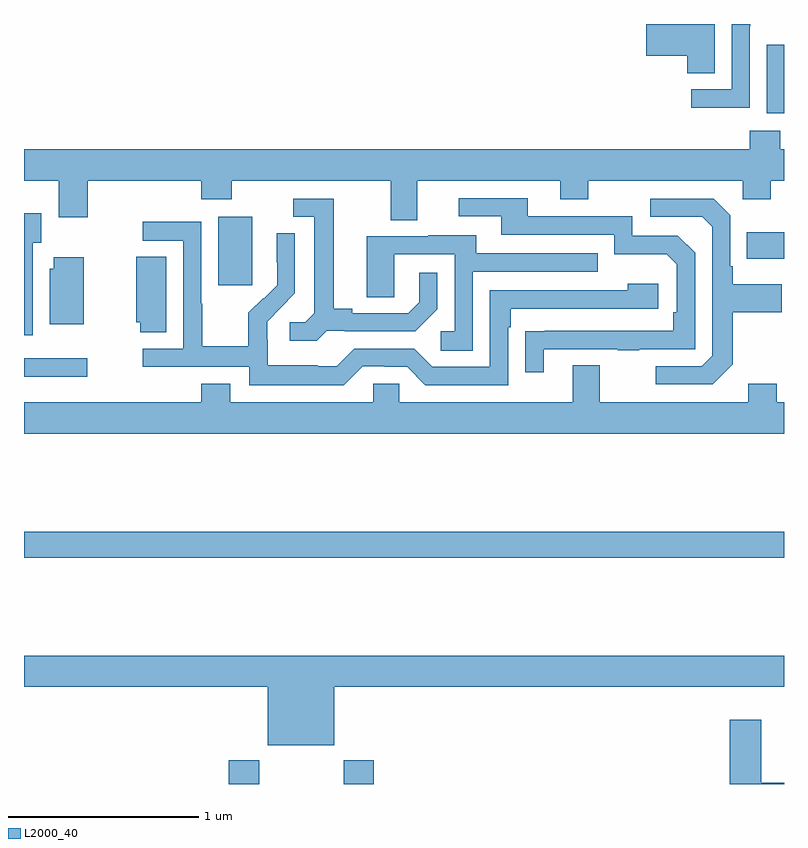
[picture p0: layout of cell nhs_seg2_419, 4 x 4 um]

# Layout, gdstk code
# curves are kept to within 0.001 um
import gdstk
lib = gdstk.Library(unit=1e-6, precision=1e-09)
def R(c, l, rs):  # rectangles x0, y0, x1, y1
    for r in rs: c.add(gdstk.rectangle(r[:2], r[2:], *l))
def P(c, l, *ps):  # polygons
    for p in ps: c.add(gdstk.Polygon(p, *l))
L2000_40 = (2000, 40)

nhs_seg2_419 = lib.new_cell('nhs_seg2_419')
R(nhs_seg2_419, L2000_40, [(132.077,637.8,132.237,637.924), (132.682,637.8,132.842,637.924), (131,638.992,135,639.128), (131,639.944,131.332,640.041), (132.023,640.425,132.202,640.786), (134.803,640.565,135,640.705), (134.909,641.33,135,641.691)])
P(nhs_seg2_419, L2000_40, [(134.635,641.8),(134.274,641.8),(134.274,641.633),(134.492,641.633),(134.492,641.542),(134.635,641.542)],
  [(134.82,641.788),(134.823,641.788),(134.823,641.8),(134.724,641.8),(134.724,641.457),(134.511,641.457),(134.511,641.359),(134.82,641.359)],
  [(133.069,640.976),(133.823,640.976),(133.823,640.877),(133.971,640.877),(133.971,640.976),(134.784,640.976),(134.784,640.877),(134.931,640.877),(134.931,640.976),(135,640.976),(135,641.14),(134.979,641.14),(134.979,641.239),(134.819,641.239),(134.819,641.14),(131,641.14),(131,640.976),(131.183,640.976),(131.183,640.782),(131.336,640.782),(131.336,640.976),(131.933,640.976),(131.933,640.877),(132.093,640.877),(132.093,640.976),(132.929,640.976),(132.929,640.768),(133.069,640.768)],
  [(133.735,640.089),(134.125,640.089),(134.125,640.084),(134.237,640.084),(134.237,640.089),(134.532,640.089),(134.532,640.596),(134.442,640.686),(134.202,640.686),(134.202,640.788),(133.651,640.788),(133.651,640.884),(133.287,640.884),(133.287,640.788),(133.511,640.788),(133.511,640.692),(134.106,640.692),(134.106,640.589),(134.383,640.589),(134.436,640.536),(134.436,640.282),(134.416,640.282),(134.416,640.185),(133.639,640.184),(133.639,639.966),(133.735,639.966)],
  [(132.594,640.185),(132.688,640.185),(132.688,640.182),(133.06,640.182),(133.176,640.298),(133.176,640.492),(133.079,640.492),(133.079,640.335),(133.022,640.278),(132.727,640.278),(132.727,640.301),(132.631,640.301),(132.631,640.881),(132.417,640.881),(132.417,640.785),(132.527,640.785),(132.527,640.277),(132.48,640.23),(132.399,640.23),(132.399,640.133),(132.542,640.133)],
  [(134.731,640.009),(134.731,640.282),(134.987,640.282),(134.987,640.429),(134.731,640.429),(134.731,640.525),(134.718,640.525),(134.718,640.794),(134.631,640.881),(134.295,640.881),(134.295,640.785),(134.571,640.785),(134.622,640.734),(134.622,640.053),(134.568,639.999),(134.325,639.999),(134.325,639.903),(134.625,639.903)],
  [(131.047,640.65),(131.092,640.65),(131.092,640.804),(131,640.804),(131,640.161),(131.047,640.161)],
  [(132.783,639.999),(132.899,639.999),(132.899,639.996),(133.017,639.996),(133.113,639.9),(133.548,639.9),(133.548,640.205),(133.561,640.205),(133.561,640.302),(134.338,640.302),(134.338,640.432),(134.177,640.432),(134.177,640.398),(133.452,640.398),(133.452,639.996),(133.149,639.996),(133.053,640.092),(132.738,640.092),(132.645,639.999),(132.545,639.999),(132.545,640.003),(132.282,640.003),(132.282,640.137),(132.28,640.137),(132.28,640.234),(132.426,640.382),(132.426,640.7),(132.33,640.7),(132.33,640.546),(132.332,640.546),(132.332,640.424),(132.261,640.353),(132.258,640.356),(132.181,640.279),(132.181,640.105),(131.937,640.105),(131.937,640.328),(131.934,640.328),(131.934,640.758),(131.625,640.758),(131.625,640.659),(131.838,640.659),(131.838,640.092),(131.625,640.092),(131.625,639.996),(132.186,639.996),(132.186,639.899),(132.683,639.899)],
  [(133.362,640.497),(134.021,640.497),(134.021,640.593),(133.381,640.593),(133.381,640.687),(133.127,640.687),(133.127,640.683),(132.803,640.683),(132.803,640.363),(132.948,640.363),(132.948,640.587),(133.266,640.587),(133.266,640.182),(133.194,640.182),(133.194,640.081),(133.362,640.081)],
  [(131.749,640.574),(131.591,640.574),(131.591,640.23),(131.611,640.23),(131.611,640.177),(131.749,640.177)],
  [(131.314,640.573),(131.156,640.573),(131.156,640.512),(131.135,640.512),(131.135,640.22),(131.314,640.22)],
  [(135,639.808),(134.961,639.808),(134.961,639.907),(134.813,639.907),(134.813,639.808),(134.029,639.808),(134.029,640.003),(133.889,640.003),(133.889,639.808),(132.975,639.808),(132.975,639.906),(132.837,639.906),(132.837,639.808),(132.085,639.808),(132.085,639.907),(131.933,639.907),(131.933,639.808),(131,639.808),(131,639.644),(135,639.644)],
  [(132.634,638.312),(135,638.312),(135,638.476),(131,638.476),(131,638.312),(132.284,638.312),(132.284,638.003),(132.634,638.003)],
  [(135,637.807),(134.881,637.807),(134.881,638.137),(134.714,638.137),(134.714,637.8),(135,637.8)])

lib.write_gds('nhs_seg2_419.gds')
